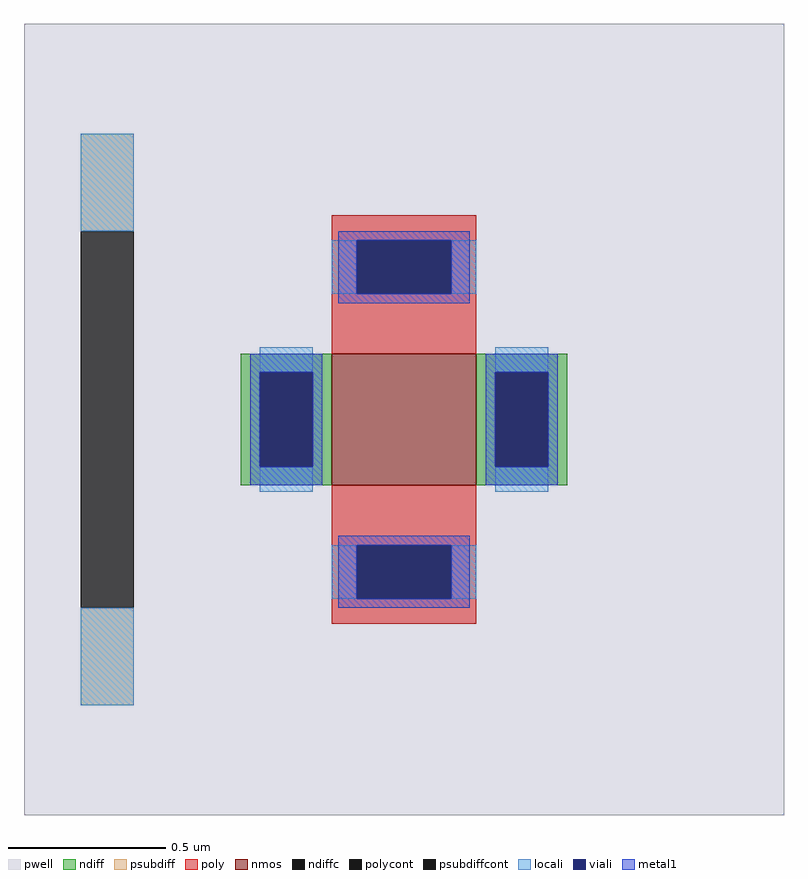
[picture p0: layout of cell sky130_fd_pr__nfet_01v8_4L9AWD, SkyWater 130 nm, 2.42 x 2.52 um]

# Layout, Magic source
magic
tech sky130A
<< pwell >>
rect -121 -126 121 126
<< nmos >>
rect -23 -21 23 21
<< ndiff >>
rect -52 15 -23 21
rect -52 -15 -46 15
rect -29 -15 -23 15
rect -52 -21 -23 -15
rect 23 15 52 21
rect 23 -15 29 15
rect 46 -15 52 15
rect 23 -21 52 -15
<< ndiffc >>
rect -46 -15 -29 15
rect 29 -15 46 15
<< psubdiff >>
rect -103 60 -86 91
rect -103 -91 -86 -60
<< psubdiffcont >>
rect -103 -60 -86 60
<< poly >>
rect -23 57 23 65
rect -23 40 -15 57
rect 15 40 23 57
rect -23 21 23 40
rect -23 -40 23 -21
rect -23 -57 -15 -40
rect 15 -57 23 -40
rect -23 -65 23 -57
<< polycont >>
rect -15 40 15 57
rect -15 -57 15 -40
<< locali >>
rect -103 60 -86 91
rect -23 40 -15 57
rect 15 40 23 57
rect -46 15 -29 23
rect -46 -23 -29 -15
rect 29 15 46 23
rect 29 -23 46 -15
rect -23 -57 -15 -40
rect 15 -57 23 -40
rect -103 -91 -86 -60
<< viali >>
rect -15 40 15 57
rect -46 -15 -29 15
rect 29 -15 46 15
rect -15 -57 15 -40
<< metal1 >>
rect -21 57 21 60
rect -21 40 -15 57
rect 15 40 21 57
rect -21 37 21 40
rect -49 15 -26 21
rect -49 -15 -46 15
rect -29 -15 -26 15
rect -49 -21 -26 -15
rect 26 15 49 21
rect 26 -15 29 15
rect 46 -15 49 15
rect 26 -21 49 -15
rect -21 -40 21 -37
rect -21 -57 -15 -40
rect 15 -57 21 -40
rect -21 -60 21 -57
<< properties >>
string FIXED_BBOX -94 -99 94 99
string gencell sky130_fd_pr__nfet_01v8
string library sky130
string parameters w 0.42 l 0.46 m 1 nf 1 diffcov 100 polycov 100 guard 1 glc 1 grc 1 gtc 1 gbc 1 tbcov 100 rlcov 100 topc 1 botc 1 poverlap 0 doverlap 1 lmin 0.15 wmin 0.42 compatible {sky130_fd_pr__nfet_01v8 sky130_fd_pr__nfet_01v8_lvt  sky130_fd_bs_flash__special_sonosfet_star  sky130_fd_pr__nfet_g5v0d10v5 sky130_fd_pr__nfet_05v0_nvt  sky130_fd_pr__nfet_03v3_nvt} full_metal 1 viasrc 100 viadrn 100 viagate 100 viagb 0 viagr 0 viagl 0 viagt 0
<< end >>
